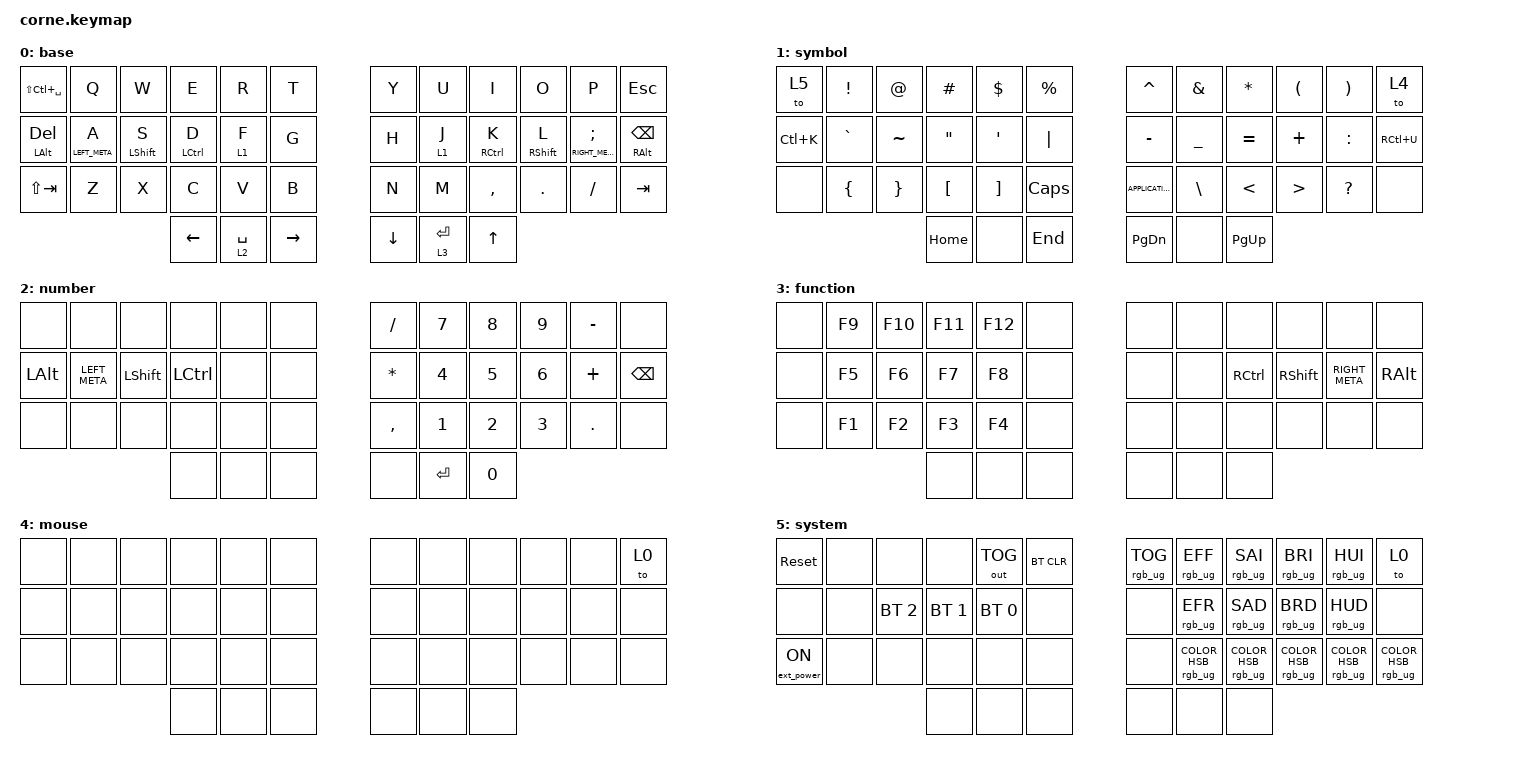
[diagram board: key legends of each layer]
#include <behaviors.dtsi>
#include <dt-bindings/zmk/keys.h>
#include <dt-bindings/zmk/bt.h>
#include <dt-bindings/zmk/outputs.h>
#include <dt-bindings/zmk/rgb.h>
#include <dt-bindings/zmk/ext_power.h>
#include <dt-bindings/zmk/outputs.h>

&led_strip {
  chain-length = <27>;
};

/ {
    behaviors {
        tapping_term {
            compatible = "zmk,behavior-tap-hold";
            label = "Tapping Term";
            #binding-cells = <0>;
            tapping-term-ms = <150>;
            quick-tap-ms = <150>;
            hold-tap-ms = <150>;
            permissive-hold = <1>;
        };
    };

    keymap {
        compatible = "zmk,keymap";

        base {
            bindings = <
&kp LS(LC(SPACE))    &kp Q            &kp W             &kp E               &kp R        &kp T            &kp Y           &kp U        &kp I                &kp O              &kp P                     &kp ESCAPE
&mt LEFT_ALT DELETE  &mt LEFT_META A  &mt LEFT_SHIFT S  &mt LEFT_CONTROL D  &lt 1 F      &kp G            &kp H           &lt 1 J      &mt RIGHT_CONTROL K  &mt RIGHT_SHIFT L  &mt RIGHT_META SEMICOLON  &mt RIGHT_ALT BACKSPACE
&kp LS(TAB)          &kp Z            &kp X             &kp C               &kp V        &kp B            &kp N           &kp M        &kp COMMA            &kp DOT            &kp FSLH                  &kp TAB
                                                        &kp LEFT_ARROW      &lt 2 SPACE  &kp RIGHT_ARROW  &kp DOWN_ARROW  &lt 3 ENTER  &kp UP_ARROW
            >;
        };

        symbol {
            bindings = <
&to 5      &kp EXCLAMATION  &kp AT_SIGN      &kp HASH           &kp DOLLAR         &kp PERCENT     &kp CARET          &kp AMPERSAND   &kp ASTERISK   &kp LEFT_PARENTHESIS  &kp RIGHT_PARENTHESIS  &to 4
&kp LC(K)  &kp GRAVE        &kp TILDE        &kp DOUBLE_QUOTES  &kp APOSTROPHE     &kp PIPE        &kp MINUS          &kp UNDERSCORE  &kp EQUAL      &kp PLUS              &kp COLON              &kp RC(U)
&none      &kp LEFT_BRACE   &kp RIGHT_BRACE  &kp LEFT_BRACKET   &kp RIGHT_BRACKET  &kp CAPSLOCK    &kp K_APPLICATION  &kp BACKSLASH   &kp LESS_THAN  &kp GREATER_THAN      &kp QUESTION           &none
                                             &kp HOME           &none              &kp END         &kp PAGE_DOWN      &none           &kp PAGE_UP
            >;
        };

        number {
            bindings = <
&none         &none          &none           &none             &none  &none    &kp SLASH     &kp NUMBER_7  &kp NUMBER_8  &kp NUMBER_9  &kp MINUS   &none
&kp LEFT_ALT  &kp LEFT_META  &kp LEFT_SHIFT  &kp LEFT_CONTROL  &none  &none    &kp ASTERISK  &kp NUMBER_4  &kp NUMBER_5  &kp NUMBER_6  &kp PLUS    &kp BACKSPACE
&none         &none          &none           &none             &none  &none    &kp COMMA     &kp NUMBER_1  &kp NUMBER_2  &kp NUMBER_3  &kp PERIOD  &none
                                             &none             &none  &none    &none         &kp ENTER     &kp NUMBER_0
            >;
        };

        function {
            bindings = <
&none  &kp F9  &kp F10  &kp F11  &kp F12  &none    &none  &none  &none              &none            &none           &none
&none  &kp F5  &kp F6   &kp F7   &kp F8   &none    &none  &none  &kp RIGHT_CONTROL  &kp RIGHT_SHIFT  &kp RIGHT_META  &kp RIGHT_ALT
&none  &kp F1  &kp F2   &kp F3   &kp F4   &none    &none  &none  &none              &none            &none           &none
                        &none    &none    &none    &none  &none  &none
            >;
        };

        mouse {
            bindings = <
&none  &none  &none  &none  &none  &none    &none  &none  &none  &none  &none  &to 0
&none  &none  &none  &none  &none  &none    &none  &none  &none  &none  &none  &none
&none  &none  &none  &none  &none  &none    &none  &none  &none  &none  &none  &none
                     &none  &none  &none    &none  &none  &none
            >;
        };

        system {
            bindings = <
&sys_reset        &none  &none         &none         &out OUT_TOG   &bt BT_CLR    &rgb_ug RGB_TOG  &rgb_ug RGB_EFF                   &rgb_ug RGB_SAI                   &rgb_ug RGB_BRI                    &rgb_ug RGB_HUI                   &to 0
&none             &none  &bt BT_SEL 2  &bt BT_SEL 1  &bt BT_SEL 0   &none         &none            &rgb_ug RGB_EFR                   &rgb_ug RGB_SAD                   &rgb_ug RGB_BRD                    &rgb_ug RGB_HUD                   &none
&ext_power EP_ON  &none  &none         &none         &none          &none         &none            &rgb_ug RGB_COLOR_HSB(22,100,50)  &rgb_ug RGB_COLOR_HSB(281,93,49)  &rgb_ug RGB_COLOR_HSB(326,100,52)  &rgb_ug RGB_COLOR_HSB(139,87,49)  &rgb_ug RGB_COLOR_HSB(198,90,50)
                                       &none         &none          &none         &none            &none                             &none
            >;
        };
    };
};
